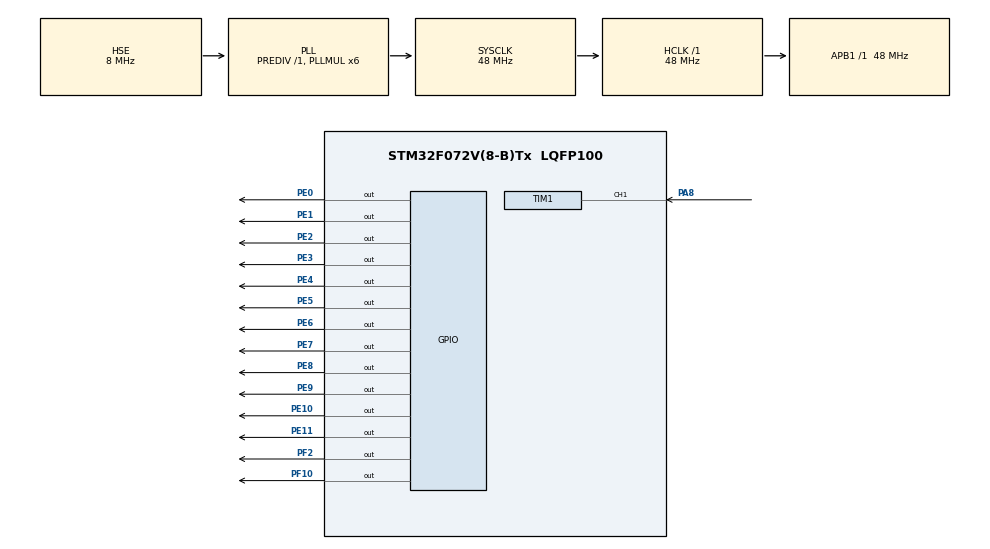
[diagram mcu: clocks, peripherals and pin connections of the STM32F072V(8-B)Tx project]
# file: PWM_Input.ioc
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Mcu.Family=STM32F0
Mcu.Name=STM32F072V(8-B)Tx
Mcu.Package=LQFP100
PA8.Signal=S_TIM1_CH1
PE0.Signal=GPIO_Output
PE1.Signal=GPIO_Output
PE10.Signal=GPIO_Output
PE11.Signal=GPIO_Output
PE2.Signal=GPIO_Output
PE3.Signal=GPIO_Output
PE4.Signal=GPIO_Output
PE5.Signal=GPIO_Output
PE6.Signal=GPIO_Output
PE7.Signal=GPIO_Output
PE8.Signal=GPIO_Output
PE9.Signal=GPIO_Output
PF0-OSC_IN.Mode=HSE-External-Oscillator
PF0-OSC_IN.Signal=RCC_OSC_IN
PF1-OSC_OUT.Mode=HSE-External-Oscillator
PF1-OSC_OUT.Signal=RCC_OSC_OUT
PF10.Signal=GPIO_Output
PF2.Signal=GPIO_Output
ProjectManager.HeapSize=0x200
ProjectManager.StackSize=0x400
ProjectManager.TargetToolchain=MDK-ARM V5
RCC.AHBFreq_Value=48000000
RCC.APB1Freq_Value=48000000
RCC.APB1TimFreq_Value=48000000
RCC.HCLKFreq_Value=48000000
RCC.HSIState=RCC_HSI_ON
RCC.PLLMUL=RCC_PLL_MUL6
RCC.PLLSourceVirtual=RCC_PLLSOURCE_HSE
RCC.SYSCLKFreq_VALUE=48000000
RCC.SYSCLKSource=RCC_SYSCLKSOURCE_PLLCLK
SH.S_TIM1_CH1.0=TIM1_CH1,TriggerSource_TI1FP1
SH.S_TIM1_CH1.1=TIM1_CH1,Input_Capture1_from_TI1
SH.S_TIM1_CH1.2=TIM1_CH1,Input_Capture2_from_TI1
TIM1.Channel-Input_Capture2_from_TI1=TIM_CHANNEL_2
TIM1.ICPolarity_CH2=TIM_INPUTCHANNELPOLARITY_FALLING
TIM1.Period=65535
TIM1.Prescaler=479
VP_TIM1_VS_ClockSourceINT.Mode=Internal
VP_TIM1_VS_ControllerModeReset.Mode=Reset Mode
board=PWM_Input

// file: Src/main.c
/**
  ******************************************************************************
  * File Name          : main.c
  * Description        : Main program body

	* TIM1定时器PWM输入模式，通道1（PA8）测量PF10输出端的PWM信号周期值（单位10微秒）
  ******************************************************************************
  *
  * COPYRIGHT(c) 2017 STMicroelectronics
  *
  * Redistribution and use in source and binary forms, with or without modification,
  * are permitted provided that the following conditions are met:
  *   1. Redistributions of source code must retain the above copyright notice,
  *      this list of conditions and the following disclaimer.
  *   2. Redistributions in binary form must reproduce the above copyright notice,
  *      this list of conditions and the following disclaimer in the documentation
  *      and/or other materials provided with the distribution.
  *   3. Neither the name of STMicroelectronics nor the names of its contributors
  *      may be used to endorse or promote products derived from this software
  *      without specific prior written permission.
  *
  * THIS SOFTWARE IS PROVIDED BY THE COPYRIGHT HOLDERS AND CONTRIBUTORS "AS IS"
  * AND ANY EXPRESS OR IMPLIED WARRANTIES, INCLUDING, BUT NOT LIMITED TO, THE
  * IMPLIED WARRANTIES OF MERCHANTABILITY AND FITNESS FOR A PARTICULAR PURPOSE ARE
  * DISCLAIMED. IN NO EVENT SHALL THE COPYRIGHT HOLDER OR CONTRIBUTORS BE LIABLE
  * FOR ANY DIRECT, INDIRECT, INCIDENTAL, SPECIAL, EXEMPLARY, OR CONSEQUENTIAL
  * DAMAGES (INCLUDING, BUT NOT LIMITED TO, PROCUREMENT OF SUBSTITUTE GOODS OR
  * SERVICES; LOSS OF USE, DATA, OR PROFITS; OR BUSINESS INTERRUPTION) HOWEVER
  * CAUSED AND ON ANY THEORY OF LIABILITY, WHETHER IN CONTRACT, STRICT LIABILITY,
  * OR TORT (INCLUDING NEGLIGENCE OR OTHERWISE) ARISING IN ANY WAY OUT OF THE USE
  * OF THIS SOFTWARE, EVEN IF ADVISED OF THE POSSIBILITY OF SUCH DAMAGE.
  *
  ******************************************************************************
  */
#include "stm32f0xx_hal.h"

TIM_HandleTypeDef htim1;

/* USER CODE BEGIN PV */
/* Private variables ---------------------------------------------------------*/

/* USER CODE END PV */

void SystemClock_Config(void);
void Error_Handler(void);
static void MX_GPIO_Init(void);
static void MX_TIM1_Init(void);

/* USER CODE BEGIN PFP */
/* Private function prototypes -----------------------------------------------*/
void SEG_Display(uint32_t num);     /*  数码管显示函数  */

/* USER CODE END PFP */

/* USER CODE BEGIN 0 */
const uint8_t table0[]= {0x3f,0x06,0x5b,0x4f,0x66,0x6d,0x7d,0x07,0x7f,0x6f};  /* 共阴（无点）*/
const uint8_t table1[]= {0xbf,0x86,0xdb,0xcf,0xe6,0xed,0xfd,0x87,0xff,0xef};  /* 共阴（有点）*/

uint32_t  display;   /* 定义显示变量 */
uint32_t  status;    /* 定义状态变量 */

/* USER CODE END 0 */

int main(void)
{

  /* MCU Configuration----------------------------------------------------------*/

  /* Reset of all peripherals, Initializes the Flash interface and the Systick. */
  HAL_Init();

  /* Configure the system clock */
  SystemClock_Config();

  /* Initialize all configured peripherals */
  MX_GPIO_Init();
  MX_TIM1_Init();

  /* USER CODE BEGIN 2 */

	/* 使能通道1捕捉 */
	status = HAL_TIM_IC_Start_IT(&htim1,TIM_CHANNEL_1);
	/* 使能通道2捕捉 */
	status = HAL_TIM_IC_Start_IT(&htim1,TIM_CHANNEL_2);

  /* USER CODE END 2 */

  /* Infinite loop */
  /* USER CODE BEGIN WHILE */
  while (1)
  {
		/*  读取通道1的捕捉值  */
		display = HAL_TIM_ReadCapturedValue(&htim1, TIM_CHANNEL_1);
		/*  读取通道2的捕捉值  */
//	display = HAL_TIM_ReadCapturedValue(&htim1, TIM_CHANNEL_2);
		/*  PF10引脚输出高电平  */
		HAL_GPIO_WritePin(GPIOF,GPIO_PIN_10,GPIO_PIN_SET);
		/*  数码管显示  */
		SEG_Display(display);
		/*  PF10引脚输出低电平 */
		HAL_GPIO_WritePin(GPIOF,GPIO_PIN_10,GPIO_PIN_RESET);
		/*  数码管显示  */
		SEG_Display(display);

  /* USER CODE END WHILE */

  }

}

/** System Clock Configuration
*/
void SystemClock_Config(void)
{

  RCC_OscInitTypeDef RCC_OscInitStruct;
  RCC_ClkInitTypeDef RCC_ClkInitStruct;

  RCC_OscInitStruct.OscillatorType = RCC_OSCILLATORTYPE_HSE;
  RCC_OscInitStruct.HSEState = RCC_HSE_ON;
  RCC_OscInitStruct.PLL.PLLState = RCC_PLL_ON;
  RCC_OscInitStruct.PLL.PLLSource = RCC_PLLSOURCE_HSE;
  RCC_OscInitStruct.PLL.PLLMUL = RCC_PLL_MUL6;
  RCC_OscInitStruct.PLL.PREDIV = RCC_PREDIV_DIV1;
  if (HAL_RCC_OscConfig(&RCC_OscInitStruct) != HAL_OK)
  {
    Error_Handler();
  }

  RCC_ClkInitStruct.ClockType = RCC_CLOCKTYPE_HCLK|RCC_CLOCKTYPE_SYSCLK
                              |RCC_CLOCKTYPE_PCLK1;
  RCC_ClkInitStruct.SYSCLKSource = RCC_SYSCLKSOURCE_PLLCLK;
  RCC_ClkInitStruct.AHBCLKDivider = RCC_SYSCLK_DIV1;
  RCC_ClkInitStruct.APB1CLKDivider = RCC_HCLK_DIV1;
  if (HAL_RCC_ClockConfig(&RCC_ClkInitStruct, FLASH_LATENCY_1) != HAL_OK)
  {
    Error_Handler();
  }

  HAL_SYSTICK_Config(HAL_RCC_GetHCLKFreq()/1000);

  HAL_SYSTICK_CLKSourceConfig(SYSTICK_CLKSOURCE_HCLK);

  /* SysTick_IRQn interrupt configuration */
  HAL_NVIC_SetPriority(SysTick_IRQn, 0, 0);
}

/* TIM1 init function */
static void MX_TIM1_Init(void)
{

  TIM_ClockConfigTypeDef sClockSourceConfig;
  TIM_SlaveConfigTypeDef sSlaveConfig;
  TIM_MasterConfigTypeDef sMasterConfig;
  TIM_IC_InitTypeDef sConfigIC;

  htim1.Instance = TIM1;
  htim1.Init.Prescaler = 479;
  htim1.Init.CounterMode = TIM_COUNTERMODE_UP;
  htim1.Init.Period = 65535;
  htim1.Init.ClockDivision = TIM_CLOCKDIVISION_DIV1;
  htim1.Init.RepetitionCounter = 0;
  if (HAL_TIM_Base_Init(&htim1) != HAL_OK)
  {
    Error_Handler();
  }

  sClockSourceConfig.ClockSource = TIM_CLOCKSOURCE_INTERNAL;
  if (HAL_TIM_ConfigClockSource(&htim1, &sClockSourceConfig) != HAL_OK)
  {
    Error_Handler();
  }

  if (HAL_TIM_IC_Init(&htim1) != HAL_OK)
  {
    Error_Handler();
  }

  sSlaveConfig.SlaveMode = TIM_SLAVEMODE_RESET;
  sSlaveConfig.InputTrigger = TIM_TS_TI1FP1;
  sSlaveConfig.TriggerPolarity = TIM_INPUTCHANNELPOLARITY_RISING;
  sSlaveConfig.TriggerFilter = 0;
  if (HAL_TIM_SlaveConfigSynchronization(&htim1, &sSlaveConfig) != HAL_OK)
  {
    Error_Handler();
  }

  sMasterConfig.MasterOutputTrigger = TIM_TRGO_RESET;
  sMasterConfig.MasterSlaveMode = TIM_MASTERSLAVEMODE_DISABLE;
  if (HAL_TIMEx_MasterConfigSynchronization(&htim1, &sMasterConfig) != HAL_OK)
  {
    Error_Handler();
  }

  sConfigIC.ICPolarity = TIM_INPUTCHANNELPOLARITY_RISING;
  sConfigIC.ICSelection = TIM_ICSELECTION_DIRECTTI;
  sConfigIC.ICPrescaler = TIM_ICPSC_DIV1;
  sConfigIC.ICFilter = 0;
  if (HAL_TIM_IC_ConfigChannel(&htim1, &sConfigIC, TIM_CHANNEL_1) != HAL_OK)
  {
    Error_Handler();
  }

  sConfigIC.ICPolarity = TIM_INPUTCHANNELPOLARITY_FALLING;
  sConfigIC.ICSelection = TIM_ICSELECTION_INDIRECTTI;
  if (HAL_TIM_IC_ConfigChannel(&htim1, &sConfigIC, TIM_CHANNEL_2) != HAL_OK)
  {
    Error_Handler();
  }

}

/** Configure pins as
        * Analog
        * Input
        * Output
        * EVENT_OUT
        * EXTI
*/
static void MX_GPIO_Init(void)
{

  GPIO_InitTypeDef GPIO_InitStruct;

  /* GPIO Ports Clock Enable */
  __HAL_RCC_GPIOE_CLK_ENABLE();
  __HAL_RCC_GPIOF_CLK_ENABLE();
  __HAL_RCC_GPIOA_CLK_ENABLE();

  /*Configure GPIO pin Output Level */
  HAL_GPIO_WritePin(GPIOE, GPIO_PIN_2|GPIO_PIN_3|GPIO_PIN_4|GPIO_PIN_5
                          |GPIO_PIN_6|GPIO_PIN_7|GPIO_PIN_8|GPIO_PIN_9
                          |GPIO_PIN_10|GPIO_PIN_11|GPIO_PIN_0|GPIO_PIN_1, GPIO_PIN_RESET);

  /*Configure GPIO pin Output Level */
  HAL_GPIO_WritePin(GPIOF, GPIO_PIN_10|GPIO_PIN_2, GPIO_PIN_RESET);

  /*Configure GPIO pins : PE2 PE3 PE4 PE5
                           PE6 PE7 PE8 PE9
                           PE10 PE11 PE0 PE1 */
  GPIO_InitStruct.Pin = GPIO_PIN_2|GPIO_PIN_3|GPIO_PIN_4|GPIO_PIN_5
                          |GPIO_PIN_6|GPIO_PIN_7|GPIO_PIN_8|GPIO_PIN_9
                          |GPIO_PIN_10|GPIO_PIN_11|GPIO_PIN_0|GPIO_PIN_1;
  GPIO_InitStruct.Mode = GPIO_MODE_OUTPUT_PP;
  GPIO_InitStruct.Pull = GPIO_NOPULL;
  GPIO_InitStruct.Speed = GPIO_SPEED_FREQ_LOW;
  HAL_GPIO_Init(GPIOE, &GPIO_InitStruct);

  /*Configure GPIO pins : PF10 PF2 */
  GPIO_InitStruct.Pin = GPIO_PIN_10|GPIO_PIN_2;
  GPIO_InitStruct.Mode = GPIO_MODE_OUTPUT_PP;
  GPIO_InitStruct.Pull = GPIO_NOPULL;
  GPIO_InitStruct.Speed = GPIO_SPEED_FREQ_LOW;
  HAL_GPIO_Init(GPIOF, &GPIO_InitStruct);

}

/* USER CODE BEGIN 4 */

/*  数码管显示函数  */
void SEG_Display(uint32_t num)
{
	/* 取出四位数显示值 */
  uint8_t GeWei,ShiWei,BaiWei,QianWei;
	GeWei   = (uint8_t)(num%10);
	ShiWei  = (uint8_t)(num%100/10);
	BaiWei  = (uint8_t)(num%1000/100);
	QianWei = (uint8_t)(num/1000);

	/* 使能数码管位驱动  */
	HAL_GPIO_WritePin(GPIOF,GPIO_PIN_2,GPIO_PIN_RESET);

	/* 显示个位 */
	GPIOE->ODR |= (uint16_t)(table0[GeWei]);
	/* 使能个位 */
	HAL_GPIO_WritePin(GPIOE,GPIO_PIN_9|GPIO_PIN_10|GPIO_PIN_11,GPIO_PIN_SET);
	HAL_GPIO_WritePin(GPIOE,GPIO_PIN_8,GPIO_PIN_RESET);
	HAL_Delay(3);
	/* 消隐 */
  GPIOE->ODR &= 0xFF00;
	GPIOE->ODR |= 0x0F00;
	HAL_Delay(1);

	/* 显示十位 */
	GPIOE->ODR |= (uint16_t)(table0[ShiWei]);
	/* 使能十位 */
	HAL_GPIO_WritePin(GPIOE,GPIO_PIN_8|GPIO_PIN_10|GPIO_PIN_11,GPIO_PIN_SET);
	HAL_GPIO_WritePin(GPIOE,GPIO_PIN_9,GPIO_PIN_RESET);
	HAL_Delay(3);
	/* 消隐 */
  GPIOE->ODR &= 0xFF00;
	GPIOE->ODR |= 0x0F00;
	HAL_Delay(1);

	/* 显示百位 */
	GPIOE->ODR |= (uint16_t)(table0[BaiWei]);
	/* 使能百位 */
	HAL_GPIO_WritePin(GPIOE,GPIO_PIN_8|GPIO_PIN_9|GPIO_PIN_11,GPIO_PIN_SET);
	HAL_GPIO_WritePin(GPIOE,GPIO_PIN_10,GPIO_PIN_RESET);
	HAL_Delay(3);
	/* 消隐 */
  GPIOE->ODR &= 0xFF00;
	GPIOE->ODR |= 0x0F00;
	HAL_Delay(1);

	/* 显示千位 */
	GPIOE->ODR |= (uint16_t)(table0[QianWei]);
	/* 使能千位 */
	HAL_GPIO_WritePin(GPIOE,GPIO_PIN_8|GPIO_PIN_9|GPIO_PIN_10,GPIO_PIN_SET);
	HAL_GPIO_WritePin(GPIOE,GPIO_PIN_11,GPIO_PIN_RESET);
	HAL_Delay(3);
	/* 消隐 */
  GPIOE->ODR &= 0xFF00;
	GPIOE->ODR |= 0x0F00;
	HAL_Delay(1);
}

/* USER CODE END 4 */

void Error_Handler(void)
{
  while(1)
  {
  }
}

/************************ (C) COPYRIGHT STMicroelectronics *****END OF FILE****/
